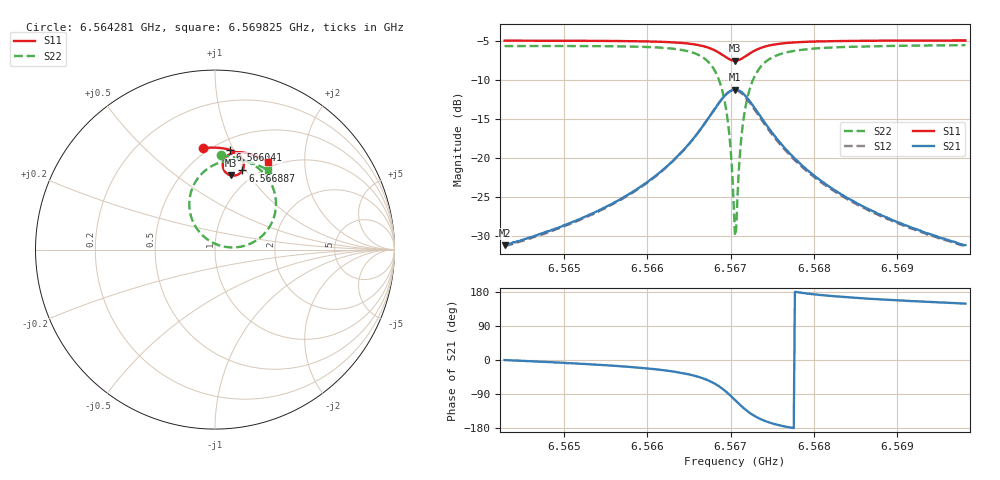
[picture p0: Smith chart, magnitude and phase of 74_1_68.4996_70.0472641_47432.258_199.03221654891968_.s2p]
#  HZ  S  RI  R  50.00
! Rohde & Schwarz Vector Network Analyzer
! Rohde-Schwarz,ZNB20-2Port,1311601062101988,3.16
! Created: UTC 3/20/2024, 5:07:01 PM
! freq[Hz]  re:S11  im:S11  re:S21  im:S21  re:S12  im:S12  re:S22  im:S22
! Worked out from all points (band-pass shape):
!   401 points, 6.564281 GHz to 6.569825 GHz, reference 50 ohm
!   highest |S21| = -11.20 dB at 6.567053 GHz (marker M1); lowest = -31.2 dB at 6.564281 GHz (marker M2)
!   |S21| within 3 dB of the highest: 6.566777 GHz to 6.56733 GHz (553.1 kHz wide, 0.00842 % of centre)
!   lowest |S11| = -7.5 dB at 6.567053 GHz (marker M3), VSWR 2.46, Z = 41.1 + j41.3 ohm
!   |S11| at or under -10 dB: nowhere
!   |S22| runs from -30.0 to -5.5 dB; largest |S21 - S12| = 0.013
!   S11 on the Smith chart (normalised r, x): 6.564281 GHz: 0.46, +0.77; 6.566041 GHz: 0.60, +0.97; 6.566887 GHz: 0.86, +0.97; 6.569825 GHz: 0.92, +1.33
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6.5642812e9  -0.0687 0.5649  0.0274 -7.06e-05  0.0271 -0.000614  0.0307 0.5244
6.5652097e9  0.00705 0.5678  0.0404 -0.00718  0.0397 -0.0077  0.1176 0.5121
6.5660412e9  0.0837 0.5557  0.0669 -0.0288  0.0658 -0.0295  0.2229 0.4666
6.5661382e9  0.0938 0.5522  0.0721 -0.0346  0.071 -0.0352  0.2391 0.4551
6.5664431e9  0.1286 0.5333  0.0929 -0.0661  0.0913 -0.0673  0.2977 0.3925
6.5666648e9  0.1539 0.5026  0.1065 -0.1192  0.1042 -0.1215  0.3374 0.2899
6.5667895e9  0.1608 0.4719  0.0996 -0.1729  0.0953 -0.176  0.3307 0.1877
6.5668866e9  0.1524 0.4409  0.0676 -0.2261  0.0603 -0.2289  0.2741 0.0879
6.5669697e9  0.1276 0.4176  0.00819 -0.2635  -0.00242 -0.2637  0.1653 0.0214
6.5669974e9  0.1157 0.4133  -0.018 -0.2694  -0.0292 -0.2679  0.1182 0.0127
6.567039e9  0.096 0.4118  -0.0599 -0.2685  -0.0713 -0.2639  0.0435 0.0178
6.5670529e9  0.0894 0.4129  -0.0737 -0.2654  -0.085 -0.2599  0.0195 0.0248
6.5670667e9  0.0829 0.4146  -0.0873 -0.2608  -0.0982 -0.2543  -0.00401 0.0343
6.5670806e9  0.0768 0.4172  -0.1002 -0.2551  -0.1106 -0.2477  -0.0261 0.046
6.5671221e9  0.0608 0.4282  -0.1343 -0.2313  -0.1422 -0.2216  -0.082 0.0923
6.5671637e9  0.0499 0.4431  -0.1584 -0.2012  -0.1637 -0.1905  -0.1193 0.1481
6.5672192e9  0.0433 0.4646  -0.1753 -0.1588  -0.1774 -0.1482  -0.1415 0.2242
6.5672885e9  0.0455 0.4885  -0.1778 -0.112  -0.1771 -0.103  -0.1375 0.3059
6.5675379e9  0.0841 0.5324  -0.1345 -0.0246  -0.1317 -0.0208  -0.0397 0.4518
6.5679814e9  0.1448 0.5422  -0.0784 0.0085  -0.0765 0.00965  0.0893 0.4972
6.5689099e9  0.2302 0.5205  -0.0378 0.0149  -0.0371 0.0151  0.2191 0.4785
6.5698246e9  0.2972 0.4874  -0.0235 0.0143  -0.023 0.0143  0.2979 0.4412
